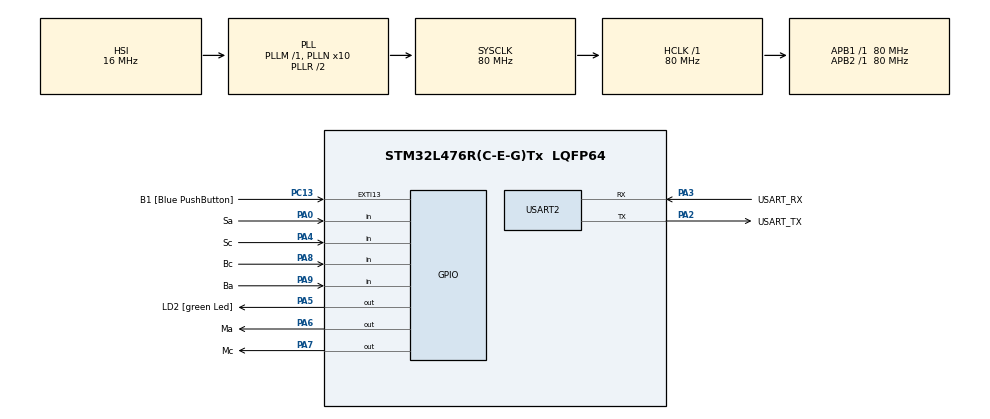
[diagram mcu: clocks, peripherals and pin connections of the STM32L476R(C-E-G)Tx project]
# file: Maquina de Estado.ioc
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Mcu.Family=STM32L4
Mcu.Name=STM32L476R(C-E-G)Tx
Mcu.Package=LQFP64
NVIC.PriorityGroup=NVIC_PRIORITYGROUP_4
NVIC.TIM2_IRQn=true\:0\:0\:false\:false\:true\:true\:true\:true
PA0.GPIO_Label=Sa
PA0.GPIO_PuPd=GPIO_PULLDOWN
PA0.Signal=GPIO_Input
PA13\ (JTMS-SWDIO).GPIO_Label=TMS
PA13\ (JTMS-SWDIO).Mode=Serial_Wire
PA13\ (JTMS-SWDIO).Signal=SYS_JTMS-SWDIO
PA14\ (JTCK-SWCLK).GPIO_Label=TCK
PA14\ (JTCK-SWCLK).Mode=Serial_Wire
PA14\ (JTCK-SWCLK).Signal=SYS_JTCK-SWCLK
PA2.GPIO_Label=USART_TX
PA2.GPIO_Mode=GPIO_MODE_AF_PP
PA2.GPIO_PuPd=GPIO_NOPULL
PA2.GPIO_Speed=GPIO_SPEED_FREQ_VERY_HIGH
PA2.Mode=Asynchronous
PA2.Signal=USART2_TX
PA3.GPIO_Label=USART_RX
PA3.GPIO_Mode=GPIO_MODE_AF_PP
PA3.GPIO_PuPd=GPIO_NOPULL
PA3.GPIO_Speed=GPIO_SPEED_FREQ_VERY_HIGH
PA3.Mode=Asynchronous
PA3.Signal=USART2_RX
PA4.GPIO_Label=Sc
PA4.GPIO_PuPd=GPIO_PULLDOWN
PA4.Signal=GPIO_Input
PA5.GPIO_Label=LD2 [green Led]
PA5.GPIO_ModeDefaultOutputPP=GPIO_MODE_OUTPUT_PP
PA5.GPIO_PuPd=GPIO_NOPULL
PA5.GPIO_Speed=GPIO_SPEED_FREQ_LOW
PA5.Signal=GPIO_Output
PA6.GPIO_Label=Ma
PA6.GPIO_PuPd=GPIO_PULLDOWN
PA6.Signal=GPIO_Output
PA7.GPIO_Label=Mc
PA7.GPIO_PuPd=GPIO_PULLDOWN
PA7.Signal=GPIO_Output
PA8.GPIO_Label=Bc
PA8.GPIO_PuPd=GPIO_PULLDOWN
PA8.Signal=GPIO_Input
PA9.GPIO_Label=Ba
PA9.GPIO_PuPd=GPIO_PULLDOWN
PA9.Signal=GPIO_Input
PB3\ (JTDO-TRACESWO).GPIO_Label=SWO
PB3\ (JTDO-TRACESWO).Signal=SYS_JTDO-SWO
PC13.GPIO_Label=B1 [Blue PushButton]
PC13.GPIO_ModeDefaultEXTI=GPIO_MODE_IT_FALLING
PC13.GPIO_PuPd=GPIO_NOPULL
PC13.Signal=GPXTI13
PC14-OSC32_IN\ (PC14).Mode=LSE-External-Oscillator
PC14-OSC32_IN\ (PC14).Signal=RCC_OSC32_IN
PC15-OSC32_OUT\ (PC15).Mode=LSE-External-Oscillator
PC15-OSC32_OUT\ (PC15).Signal=RCC_OSC32_OUT
PH0-OSC_IN\ (PH0).Signal=RCC_OSC_IN
PH1-OSC_OUT\ (PH1).Signal=RCC_OSC_OUT
ProjectManager.HeapSize=0x200
ProjectManager.StackSize=0x400
ProjectManager.TargetToolchain=STM32CubeIDE
RCC.ADCFreq_Value=64000000
RCC.AHBFreq_Value=80000000
RCC.APB1Freq_Value=80000000
RCC.APB1TimFreq_Value=80000000
RCC.APB2Freq_Value=80000000
RCC.APB2TimFreq_Value=80000000
RCC.CortexFreq_Value=80000000
RCC.HCLKFreq_Value=80000000
RCC.HSE_VALUE=8000000
RCC.HSI_VALUE=16000000
RCC.MSI_VALUE=4000000
RCC.PLLN=10
RCC.PLLSourceVirtual=RCC_PLLSOURCE_HSI
RCC.PREFETCH_ENABLE=1
RCC.SYSCLKFreq_VALUE=80000000
RCC.SYSCLKSource=RCC_SYSCLKSOURCE_PLLCLK
RCC.USBFreq_Value=64000000
RCC.VCOOutputFreq_Value=160000000
TIM2.Period=100000
TIM2.Prescaler=80-1
USART2.VirtualMode-Asynchronous=VM_ASYNC
VP_TIM2_VS_ClockSourceINT.Mode=Internal
board=NUCLEO-L476RG

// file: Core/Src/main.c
/* USER CODE BEGIN Header */
/**
  ******************************************************************************
  * @file           : main.c
  * @brief          : Main program body
  ******************************************************************************
  * @attention
  *
  * Copyright (c) 2024 STMicroelectronics.
  * All rights reserved.
  *
  * This software is licensed under terms that can be found in the LICENSE file
  * in the root directory of this software component.
  * If no LICENSE file comes with this software, it is provided AS-IS.
  *
  ******************************************************************************
  */
/* USER CODE END Header */
#include "main.h"

/* USER CODE BEGIN PD */
#define ESTADO_ERROR        0
#define ESTADO_ABIERTO      1
#define ESTADO_CERRADO      2
#define ESTADO_ABRIENDO     3
#define ESTADO_CERRANDO     4
#define ESTADO_INTERMEDIO   5
#define ESTADO_INIT         6
#define FALSE 0
#define TRUE  1
#define inTrue  0
#define inFalse 1
#define TIME_Ca 60
#define PUERTO GPIOA
#define PIN_Sa GPIO_PIN_0
#define PIN_Sc GPIO_PIN_4
#define PIN_Ma GPIO_PIN_6
#define PIN_Mc GPIO_PIN_7
#define PIN_Ba GPIO_PIN_9
#define PIN_Bc GPIO_PIN_8
#define PIN_Led GPIO_PIN_5

/* USER CODE END PD */

TIM_HandleTypeDef htim2;

UART_HandleTypeDef huart2;

/* USER CODE BEGIN PV */
int Func_ESTADO_ERROR(void);
int Func_ESTADO_ABIERTO(void);
int Func_ESTADO_CERRADO(void);
int Func_ESTADO_ABRIENDO(void);
int Func_ESTADO_CERRANDO(void);
int Func_ESTADO_INTERMEDIO(void);
int Func_ESTADO_INIT(void);

volatile int ESTADO_ANTERIOR = ESTADO_INIT;
volatile int ESTADO_ACTUAL = ESTADO_INIT;
volatile int ESTADO_SIGUIENTE = ESTADO_INIT;
volatile int CntTimeCa = 0;
volatile struct INOUT
{
    unsigned int Sa:1;
    unsigned int Sc:1;
    unsigned int Mc:1;
    unsigned int Ma:1;
    unsigned int Bc:1;
    unsigned int Ba:1;
    unsigned int Led:1;
} inout;
/* USER CODE END PV */

void SystemClock_Config(void);
static void MX_GPIO_Init(void);
static void MX_USART2_UART_Init(void);
static void MX_TIM2_Init(void);

int main(void)
{

  /* MCU Configuration--------------------------------------------------------*/

  /* Reset of all peripherals, Initializes the Flash interface and the Systick. */
  HAL_Init();

  /* Configure the system clock */
  SystemClock_Config();

  /* Initialize all configured peripherals */
  MX_GPIO_Init();
  MX_USART2_UART_Init();
  MX_TIM2_Init();
  /* USER CODE BEGIN 2 */
  HAL_TIM_Base_Start_IT(&htim2);
  /* USER CODE END 2 */

  /* Infinite loop */
  /* USER CODE BEGIN WHILE */
  while (1)
  {
      if(ESTADO_SIGUIENTE == ESTADO_INIT)
      {
          ESTADO_SIGUIENTE = Func_ESTADO_INIT();
      }

      if(ESTADO_SIGUIENTE == ESTADO_ABIERTO)
      {
          ESTADO_SIGUIENTE = Func_ESTADO_ABIERTO();
      }
      if(ESTADO_SIGUIENTE == ESTADO_CERRADO)
      {
          ESTADO_SIGUIENTE = Func_ESTADO_CERRADO();
      }
      if(ESTADO_SIGUIENTE == ESTADO_ABRIENDO)
      {
          ESTADO_SIGUIENTE = Func_ESTADO_ABRIENDO();
      }
      if(ESTADO_SIGUIENTE == ESTADO_CERRANDO)
      {
          ESTADO_SIGUIENTE = Func_ESTADO_CERRANDO();
      }
      if(ESTADO_SIGUIENTE == ESTADO_INTERMEDIO)
      {
          ESTADO_SIGUIENTE = Func_ESTADO_INTERMEDIO();
      }

      if(ESTADO_SIGUIENTE == ESTADO_ERROR)
      {
          ESTADO_SIGUIENTE = Func_ESTADO_ERROR();
      }
    /* USER CODE END WHILE */

  }
}

void SystemClock_Config(void)
{
  RCC_OscInitTypeDef RCC_OscInitStruct = {0};
  RCC_ClkInitTypeDef RCC_ClkInitStruct = {0};

  /** Configure the main internal regulator output voltage
  */
  if (HAL_PWREx_ControlVoltageScaling(PWR_REGULATOR_VOLTAGE_SCALE1) != HAL_OK)
  {
    Error_Handler();
  }

  /** Initializes the RCC Oscillators according to the specified parameters
  * in the RCC_OscInitTypeDef structure.
  */
  RCC_OscInitStruct.OscillatorType = RCC_OSCILLATORTYPE_HSI;
  RCC_OscInitStruct.HSIState = RCC_HSI_ON;
  RCC_OscInitStruct.HSICalibrationValue = RCC_HSICALIBRATION_DEFAULT;
  RCC_OscInitStruct.PLL.PLLState = RCC_PLL_ON;
  RCC_OscInitStruct.PLL.PLLSource = RCC_PLLSOURCE_HSI;
  RCC_OscInitStruct.PLL.PLLM = 1;
  RCC_OscInitStruct.PLL.PLLN = 10;
  RCC_OscInitStruct.PLL.PLLP = RCC_PLLP_DIV7;
  RCC_OscInitStruct.PLL.PLLQ = RCC_PLLQ_DIV2;
  RCC_OscInitStruct.PLL.PLLR = RCC_PLLR_DIV2;
  if (HAL_RCC_OscConfig(&RCC_OscInitStruct) != HAL_OK)
  {
    Error_Handler();
  }

  /** Initializes the CPU, AHB and APB buses clocks
  */
  RCC_ClkInitStruct.ClockType = RCC_CLOCKTYPE_HCLK|RCC_CLOCKTYPE_SYSCLK
                              |RCC_CLOCKTYPE_PCLK1|RCC_CLOCKTYPE_PCLK2;
  RCC_ClkInitStruct.SYSCLKSource = RCC_SYSCLKSOURCE_PLLCLK;
  RCC_ClkInitStruct.AHBCLKDivider = RCC_SYSCLK_DIV1;
  RCC_ClkInitStruct.APB1CLKDivider = RCC_HCLK_DIV1;
  RCC_ClkInitStruct.APB2CLKDivider = RCC_HCLK_DIV1;

  if (HAL_RCC_ClockConfig(&RCC_ClkInitStruct, FLASH_LATENCY_4) != HAL_OK)
  {
    Error_Handler();
  }
}

static void MX_TIM2_Init(void)
{

  TIM_ClockConfigTypeDef sClockSourceConfig = {0};
  TIM_MasterConfigTypeDef sMasterConfig = {0};

  htim2.Instance = TIM2;
  htim2.Init.Prescaler = 80-1;
  htim2.Init.CounterMode = TIM_COUNTERMODE_UP;
  htim2.Init.Period = 100000;
  htim2.Init.ClockDivision = TIM_CLOCKDIVISION_DIV1;
  htim2.Init.AutoReloadPreload = TIM_AUTORELOAD_PRELOAD_DISABLE;
  if (HAL_TIM_Base_Init(&htim2) != HAL_OK)
  {
    Error_Handler();
  }
  sClockSourceConfig.ClockSource = TIM_CLOCKSOURCE_INTERNAL;
  if (HAL_TIM_ConfigClockSource(&htim2, &sClockSourceConfig) != HAL_OK)
  {
    Error_Handler();
  }
  sMasterConfig.MasterOutputTrigger = TIM_TRGO_RESET;
  sMasterConfig.MasterSlaveMode = TIM_MASTERSLAVEMODE_DISABLE;
  if (HAL_TIMEx_MasterConfigSynchronization(&htim2, &sMasterConfig) != HAL_OK)
  {
    Error_Handler();
  }

}

static void MX_USART2_UART_Init(void)
{

  huart2.Instance = USART2;
  huart2.Init.BaudRate = 115200;
  huart2.Init.WordLength = UART_WORDLENGTH_8B;
  huart2.Init.StopBits = UART_STOPBITS_1;
  huart2.Init.Parity = UART_PARITY_NONE;
  huart2.Init.Mode = UART_MODE_TX_RX;
  huart2.Init.HwFlowCtl = UART_HWCONTROL_NONE;
  huart2.Init.OverSampling = UART_OVERSAMPLING_16;
  huart2.Init.OneBitSampling = UART_ONE_BIT_SAMPLE_DISABLE;
  huart2.AdvancedInit.AdvFeatureInit = UART_ADVFEATURE_NO_INIT;
  if (HAL_UART_Init(&huart2) != HAL_OK)
  {
    Error_Handler();
  }

}

static void MX_GPIO_Init(void)
{
  GPIO_InitTypeDef GPIO_InitStruct = {0};

  /* GPIO Ports Clock Enable */
  __HAL_RCC_GPIOC_CLK_ENABLE();
  __HAL_RCC_GPIOH_CLK_ENABLE();
  __HAL_RCC_GPIOA_CLK_ENABLE();
  __HAL_RCC_GPIOB_CLK_ENABLE();

  /*Configure GPIO pin Output Level */
  HAL_GPIO_WritePin(GPIOA, LD2_Pin|Ma_Pin|Mc_Pin, GPIO_PIN_RESET);

  /*Configure GPIO pin : B1_Pin */
  GPIO_InitStruct.Pin = B1_Pin;
  GPIO_InitStruct.Mode = GPIO_MODE_IT_FALLING;
  GPIO_InitStruct.Pull = GPIO_NOPULL;
  HAL_GPIO_Init(B1_GPIO_Port, &GPIO_InitStruct);

  /*Configure GPIO pins : Sa_Pin Sc_Pin Bc_Pin Ba_Pin */
  GPIO_InitStruct.Pin = Sa_Pin|Sc_Pin|Bc_Pin|Ba_Pin;
  GPIO_InitStruct.Mode = GPIO_MODE_INPUT;
  GPIO_InitStruct.Pull = GPIO_PULLDOWN;
  HAL_GPIO_Init(GPIOA, &GPIO_InitStruct);

  /*Configure GPIO pin : LD2_Pin */
  GPIO_InitStruct.Pin = LD2_Pin;
  GPIO_InitStruct.Mode = GPIO_MODE_OUTPUT_PP;
  GPIO_InitStruct.Pull = GPIO_NOPULL;
  GPIO_InitStruct.Speed = GPIO_SPEED_FREQ_LOW;
  HAL_GPIO_Init(LD2_GPIO_Port, &GPIO_InitStruct);

  /*Configure GPIO pins : Ma_Pin Mc_Pin */
  GPIO_InitStruct.Pin = Ma_Pin|Mc_Pin;
  GPIO_InitStruct.Mode = GPIO_MODE_OUTPUT_PP;
  GPIO_InitStruct.Pull = GPIO_PULLDOWN;
  GPIO_InitStruct.Speed = GPIO_SPEED_FREQ_LOW;
  HAL_GPIO_Init(GPIOA, &GPIO_InitStruct);

}

/* USER CODE BEGIN 4 */
int Func_ESTADO_ERROR(void)
{
    for(;;)
    {
        inout.Led = TRUE;
    }
}
int Func_ESTADO_ABIERTO(void)
{
    ESTADO_ANTERIOR = ESTADO_ACTUAL;
    ESTADO_ACTUAL = ESTADO_ABIERTO;
    inout.Ma = FALSE;
    inout.Mc = FALSE;

    for(;;)
    {
        if(inout.Bc == TRUE)
        {
            return ESTADO_CERRANDO;
        }
    }
}
int Func_ESTADO_CERRADO(void)
{
    ESTADO_ANTERIOR = ESTADO_ACTUAL;
    ESTADO_ACTUAL = ESTADO_CERRADO;
    inout.Mc = FALSE;
    inout.Ma = FALSE;

    for(;;)
    {
        if(inout.Ba == TRUE)
        {
            return ESTADO_ABRIENDO;
        }
    }

}
int Func_ESTADO_ABRIENDO(void)
{
    ESTADO_ANTERIOR = ESTADO_ACTUAL;
    ESTADO_ACTUAL = ESTADO_ABRIENDO;
    inout.Mc = FALSE;
    inout.Ma = TRUE;

    for(;;)
    {
        if(inout.Sa == TRUE)
        {
            return ESTADO_ABIERTO;
        }
    }
}
int Func_ESTADO_CERRANDO(void)
{
    ESTADO_ANTERIOR = ESTADO_ACTUAL;
    ESTADO_ACTUAL = ESTADO_CERRANDO;
    inout.Mc = TRUE;
    inout.Ma = FALSE;

    for(;;)
    {
        if(inout.Sc == TRUE)
        {
            return ESTADO_CERRADO;
        }
    }
}
int Func_ESTADO_INTERMEDIO(void)
{
    ESTADO_ANTERIOR = ESTADO_ACTUAL;
    ESTADO_ACTUAL = ESTADO_INTERMEDIO;
    inout.Ma = FALSE;
    inout.Mc = FALSE;
    for(;;)
    {
        if(inout.Ba == TRUE)
        {
            return ESTADO_ABRIENDO;
        }
        if(inout.Bc == TRUE)
        {
            return ESTADO_CERRANDO;
        }
    }
}
int Func_ESTADO_INIT(void)
{
    ESTADO_ANTERIOR = ESTADO_ACTUAL;
    ESTADO_ACTUAL = ESTADO_INIT;
    inout.Ma = FALSE;
    inout.Mc = FALSE;
    for(;;)
    {
        if((inout.Sa == TRUE) && (inout.Sc == TRUE))
        {
            return ESTADO_ERROR;
        }

        if(inout.Sa == TRUE)
        {
            return ESTADO_ABIERTO;
        }

        if(inout.Sc == TRUE)
        {
            return ESTADO_CERRADO;
        }

        if((inout.Sa == FALSE) && (inout.Sc == FALSE))
        {
            return ESTADO_INTERMEDIO;
        }
    }
}

void HAL_TIM_PeriodElapsedCallback(TIM_HandleTypeDef *htim2)
{

	    if(HAL_GPIO_ReadPin(PUERTO, PIN_Ba) == GPIO_PIN_SET)
	    {
	   	    inout.Ba = TRUE;
	   	}
	   	else
	   	{
	   	    inout.Ba = FALSE;
	   	}

	    if(HAL_GPIO_ReadPin(PUERTO, PIN_Bc) == GPIO_PIN_SET)
	    {
	        inout.Bc = TRUE;
	    }
	    else
	    {
	        inout.Bc = FALSE;
	    }

	    if(HAL_GPIO_ReadPin(PUERTO, PIN_Sc) == GPIO_PIN_SET)
	    {
	        inout.Sc = TRUE;
	    }
	    else
	    {
	        inout.Sc = FALSE;
	    }

	    if(HAL_GPIO_ReadPin(PUERTO, PIN_Sa) == GPIO_PIN_SET)
	    {
	        inout.Sa = TRUE;
	    }
	    else
	    {
	        inout.Sa = FALSE;
	    }

	    if(inout.Ma == TRUE)
	    {
	        HAL_GPIO_WritePin(PUERTO, PIN_Ma,1);
	    }
	    else
	    {
	        HAL_GPIO_WritePin(PUERTO, PIN_Ma,0);
	    }

	    if(inout.Mc == TRUE)
	    {
	        HAL_GPIO_WritePin(PUERTO, PIN_Mc,1);
	    }
	    else
	    {
	        HAL_GPIO_WritePin(PUERTO, PIN_Mc,0);
	    }

	    if(inout.Led == TRUE)
	    {
	    	 HAL_GPIO_WritePin(PUERTO, PIN_Led,1);
	    }
	    else
	    {
	    	 HAL_GPIO_WritePin(PUERTO, PIN_Led,0);
	    }

  /* NOTE : This function should not be modified, when the callback is needed,
            the HAL_TIM_PeriodElapsedCallback could be implemented in the user file
   */
}
/* USER CODE END 4 */

void Error_Handler(void)
{
  __disable_irq();
  while (1)
  {
  }
}
